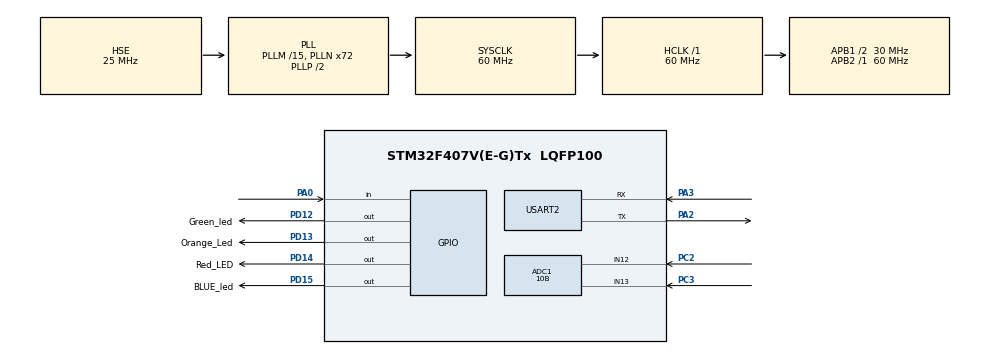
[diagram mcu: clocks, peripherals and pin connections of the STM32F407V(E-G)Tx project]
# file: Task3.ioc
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ADC1.Channel-2\#ChannelRegularConversion=ADC_CHANNEL_12
ADC1.Channel-3\#ChannelRegularConversion=ADC_CHANNEL_13
ADC1.ClockPrescaler=ADC_CLOCK_SYNC_PCLK_DIV8
ADC1.ContinuousConvMode=ENABLE
ADC1.DMAContinuousRequests=ENABLE
ADC1.NbrOfConversion=2
ADC1.NbrOfConversionFlag=1
ADC1.Rank-2\#ChannelRegularConversion=1
ADC1.Rank-3\#ChannelRegularConversion=2
ADC1.Resolution=ADC_RESOLUTION_10B
ADC1.SamplingTime-2\#ChannelRegularConversion=ADC_SAMPLETIME_3CYCLES
ADC1.SamplingTime-3\#ChannelRegularConversion=ADC_SAMPLETIME_3CYCLES
ADC1.master=1
Dma.ADC1.1.Direction=DMA_PERIPH_TO_MEMORY
Dma.ADC1.1.FIFOMode=DMA_FIFOMODE_DISABLE
Dma.ADC1.1.Instance=DMA2_Stream0
Dma.ADC1.1.MemDataAlignment=DMA_MDATAALIGN_HALFWORD
Dma.ADC1.1.MemInc=DMA_MINC_ENABLE
Dma.ADC1.1.Mode=DMA_CIRCULAR
Dma.ADC1.1.PeriphDataAlignment=DMA_PDATAALIGN_HALFWORD
Dma.ADC1.1.PeriphInc=DMA_PINC_DISABLE
Dma.ADC1.1.Priority=DMA_PRIORITY_LOW
Dma.Request0=USART2_TX
Dma.Request1=ADC1
Dma.USART2_TX.0.Direction=DMA_MEMORY_TO_PERIPH
Dma.USART2_TX.0.FIFOMode=DMA_FIFOMODE_DISABLE
Dma.USART2_TX.0.Instance=DMA1_Stream6
Dma.USART2_TX.0.MemDataAlignment=DMA_MDATAALIGN_BYTE
Dma.USART2_TX.0.MemInc=DMA_MINC_ENABLE
Dma.USART2_TX.0.Mode=DMA_CIRCULAR
Dma.USART2_TX.0.PeriphDataAlignment=DMA_PDATAALIGN_BYTE
Dma.USART2_TX.0.PeriphInc=DMA_PINC_DISABLE
Dma.USART2_TX.0.Priority=DMA_PRIORITY_LOW
Mcu.Family=STM32F4
Mcu.Name=STM32F407V(E-G)Tx
Mcu.Package=LQFP100
NVIC.DMA1_Stream6_IRQn=true\:0\:0\:false\:true\:true\:2\:false\:true\:true
NVIC.DMA2_Stream0_IRQn=true\:0\:0\:false\:false\:true\:false\:true\:true
NVIC.PriorityGroup=NVIC_PRIORITYGROUP_4
NVIC.USART2_IRQn=true\:1\:0\:true\:true\:true\:1\:false\:true\:true
PA0-WKUP.Signal=GPIO_Input
PA13.Mode=Serial_Wire
PA13.Signal=SYS_JTMS-SWDIO
PA14.Mode=Serial_Wire
PA14.Signal=SYS_JTCK-SWCLK
PA2.Mode=Asynchronous
PA2.Signal=USART2_TX
PA3.Mode=Asynchronous
PA3.Signal=USART2_RX
PC2.Signal=ADCx_IN12
PC3.Signal=ADCx_IN13
PD12.GPIO_Label=Green_led
PD12.Signal=GPIO_Output
PD13.GPIO_Label=Orange_Led
PD13.Signal=GPIO_Output
PD14.GPIO_Label=Red_LED
PD14.Signal=GPIO_Output
PD15.GPIO_Label=BLUE_led
PD15.Signal=GPIO_Output
PH0-OSC_IN.Mode=HSE-External-Oscillator
PH0-OSC_IN.Signal=RCC_OSC_IN
PH1-OSC_OUT.Mode=HSE-External-Oscillator
PH1-OSC_OUT.Signal=RCC_OSC_OUT
ProjectManager.HeapSize=0x200
ProjectManager.StackSize=0x400
ProjectManager.TargetToolchain=Makefile
RCC.48MHZClocksFreq_Value=30000000
RCC.AHBFreq_Value=60000000
RCC.APB1CLKDivider=RCC_HCLK_DIV2
RCC.APB1Freq_Value=30000000
RCC.APB1TimFreq_Value=60000000
RCC.APB2Freq_Value=60000000
RCC.APB2TimFreq_Value=60000000
RCC.CortexFreq_Value=60000000
RCC.HCLKFreq_Value=60000000
RCC.HSE_VALUE=25000000
RCC.HSI_VALUE=16000000
RCC.LSE_VALUE=32768
RCC.PLLM=15
RCC.PLLN=72
RCC.PLLSourceVirtual=RCC_PLLSOURCE_HSE
RCC.SYSCLKFreq_VALUE=60000000
RCC.SYSCLKSource=RCC_SYSCLKSOURCE_PLLCLK
RCC.VCOOutputFreq_Value=120000000
SH.ADCx_IN12.0=ADC1_IN12,IN12
SH.ADCx_IN13.0=ADC1_IN13,IN13
USART2.VirtualMode=VM_ASYNC
board=custom

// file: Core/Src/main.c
/* USER CODE BEGIN Header */
/**
 ******************************************************************************
 * @file           : main.c
 * @brief          : Main program body
 ******************************************************************************
 * @attention
 *
 * Copyright (c) 2025 STMicroelectronics.
 * All rights reserved.
 *
 * This software is licensed under terms that can be found in the LICENSE file
 * in the root directory of this software component.
 * If no LICENSE file comes with this software, it is provided AS-IS.
 *
 ******************************************************************************
 */
/* USER CODE END Header */
#include "main.h"
#include "adc.h"
#include "dma.h"
#include "gpio.h"
#include "usart.h"

/* USER CODE BEGIN Includes */
#include <stdio.h>
#include <stdlib.h>
/* USER CODE END Includes */

void SystemClock_Config(void);
static void MX_NVIC_Init(void);

/* USER CODE BEGIN 0 */
volatile uint8_t dmaTxCmplt = 0;
void HAL_UART_TxCpltCallback(UART_HandleTypeDef* huart)
{
    HAL_GPIO_TogglePin(GPIOD, GPIO_PIN_12);
    dmaTxCmplt = 1;
}
char myBuff[20];
uint16_t adc_data_buff[2];

void HAL_ADC_ConvCpltCallback(ADC_HandleTypeDef* hadc)
{
    HAL_GPIO_TogglePin(GPIOD, GPIO_PIN_13);
    // HAL_GPIO_TogglePin(GPIOD, GPIO_PIN_13);
    HAL_ADC_Stop_DMA(hadc); // Stop ADC after 1 conversion
}
/* USER CODE END 0 */

int main(void)
{

    /* MCU
     * Configuration--------------------------------------------------------*/

    /* Reset of all peripherals, Initializes the Flash interface and the
     * Systick. */
    HAL_Init();

    /* Configure the system clock */
    SystemClock_Config();

    /* Initialize all configured peripherals */
    MX_GPIO_Init();
    MX_DMA_Init();
    MX_ADC1_Init();
    MX_USART2_UART_Init();

    /* Initialize interrupts */
    MX_NVIC_Init();

    /* Infinite loop */
    /* USER CODE BEGIN WHILE */
    HAL_UART_Transmit_DMA(&huart2, (uint8_t*)myBuff, 20);
    HAL_ADC_Start_DMA(&hadc1, (uint32_t*)adc_data_buff, 2);
    int i = 0;
    uint32_t last_adc_time = HAL_GetTick();
    while (1)
    {
        if (HAL_GetTick() - last_adc_time >= 500)
        {
            HAL_ADC_Start_DMA(&hadc1, (uint32_t*)adc_data_buff, 2);
            last_adc_time = HAL_GetTick();
        }
        if (dmaTxCmplt == 1)
        {
            if (i >= 255)
            {
                i = 0;
            }
            int len = snprintf(myBuff, sizeof(myBuff), "My buff %d \r\n", i);
            // HAL_UART_Transmit_DMA(&huart2, (uint8_t*)myBuff, len);
            i += 1;
            dmaTxCmplt = 0;
        }
        HAL_GPIO_TogglePin(
            GPIOD, GPIO_PIN_14 | GPIO_PIN_15); // In HAL_ADC_ConvCpltCallback
        HAL_Delay(1000);

        /* USER CODE END WHILE */

    }
}

void SystemClock_Config(void)
{
    RCC_OscInitTypeDef RCC_OscInitStruct = {0};
    RCC_ClkInitTypeDef RCC_ClkInitStruct = {0};

    /** Configure the main internal regulator output voltage
     */
    __HAL_RCC_PWR_CLK_ENABLE();
    __HAL_PWR_VOLTAGESCALING_CONFIG(PWR_REGULATOR_VOLTAGE_SCALE1);

    /** Initializes the RCC Oscillators according to the specified parameters
     * in the RCC_OscInitTypeDef structure.
     */
    RCC_OscInitStruct.OscillatorType = RCC_OSCILLATORTYPE_HSE;
    RCC_OscInitStruct.HSEState = RCC_HSE_ON;
    RCC_OscInitStruct.PLL.PLLState = RCC_PLL_ON;
    RCC_OscInitStruct.PLL.PLLSource = RCC_PLLSOURCE_HSE;
    RCC_OscInitStruct.PLL.PLLM = 15;
    RCC_OscInitStruct.PLL.PLLN = 72;
    RCC_OscInitStruct.PLL.PLLP = RCC_PLLP_DIV2;
    RCC_OscInitStruct.PLL.PLLQ = 4;
    if (HAL_RCC_OscConfig(&RCC_OscInitStruct) != HAL_OK)
    {
        Error_Handler();
    }

    /** Initializes the CPU, AHB and APB buses clocks
     */
    RCC_ClkInitStruct.ClockType = RCC_CLOCKTYPE_HCLK | RCC_CLOCKTYPE_SYSCLK |
                                  RCC_CLOCKTYPE_PCLK1 | RCC_CLOCKTYPE_PCLK2;
    RCC_ClkInitStruct.SYSCLKSource = RCC_SYSCLKSOURCE_PLLCLK;
    RCC_ClkInitStruct.AHBCLKDivider = RCC_SYSCLK_DIV1;
    RCC_ClkInitStruct.APB1CLKDivider = RCC_HCLK_DIV2;
    RCC_ClkInitStruct.APB2CLKDivider = RCC_HCLK_DIV1;

    if (HAL_RCC_ClockConfig(&RCC_ClkInitStruct, FLASH_LATENCY_1) != HAL_OK)
    {
        Error_Handler();
    }
}

/**
 * @brief NVIC Configuration.
 * @retval None
 */
static void MX_NVIC_Init(void)
{
    /* USART2_IRQn interrupt configuration */
    HAL_NVIC_SetPriority(USART2_IRQn, 1, 0);
    HAL_NVIC_EnableIRQ(USART2_IRQn);
    /* DMA1_Stream6_IRQn interrupt configuration */
    HAL_NVIC_SetPriority(DMA1_Stream6_IRQn, 0, 0);
    HAL_NVIC_EnableIRQ(DMA1_Stream6_IRQn);
}

void Error_Handler(void)
{
    /* USER CODE BEGIN Error_Handler_Debug */
    /* User can add his own implementation to report the HAL error return state
     */
    __disable_irq();
    while (1)
    {
    }
    /* USER CODE END Error_Handler_Debug */
}

#ifdef USE_FULL_ASSERT
/**
 * @brief  Reports the name of the source file and the source line number
 *         where the assert_param error has occurred.
 * @param  file: pointer to the source file name
 * @param  line: assert_param error line source number
 * @retval None
 */
void assert_failed(uint8_t* file, uint32_t line)
{
    /* USER CODE BEGIN 6 */
    /* User can add his own implementation to report the file name and line
       number, ex: printf("Wrong parameters value: file %s on line %d\r\n",
       file, line) */
    /* USER CODE END 6 */
}
#endif /* USE_FULL_ASSERT */
